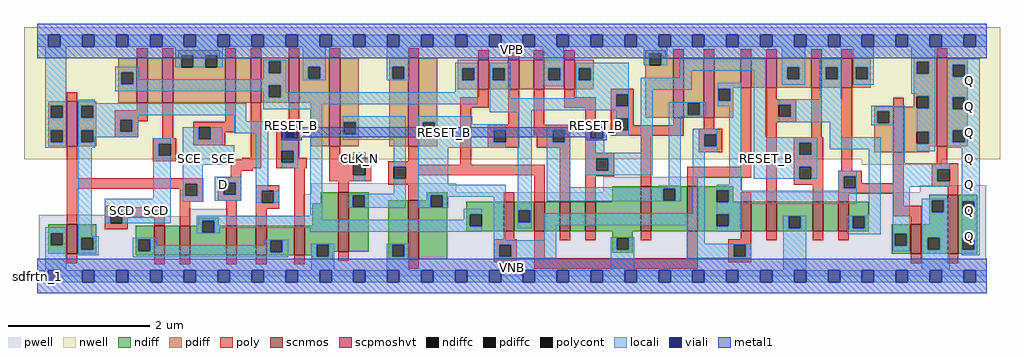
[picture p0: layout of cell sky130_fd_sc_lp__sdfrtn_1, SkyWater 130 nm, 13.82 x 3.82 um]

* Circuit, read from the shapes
.subckt sky130_fd_sc_lp__sdfrtn_1 CLK_N D RESET_B SCD SCE VGND VNB VPB VPWR Q
XM1 n1 SCE VGND VNB sky130_fd_pr__nfet_01v8 w=0.42 l=0.15
XM2 n2 SCD n3 VNB sky130_fd_pr__nfet_01v8 w=0.42 l=0.15
XM3 n4 SCE n2 VNB sky130_fd_pr__nfet_01v8 w=0.42 l=0.15
XM4 n5 D n4 VNB sky130_fd_pr__nfet_01v8 w=0.42 l=0.15
XM5 n3 n1 n5 VNB sky130_fd_pr__nfet_01v8 w=0.42 l=0.15
XM6 VGND RESET_B n3 VNB sky130_fd_pr__nfet_01v8 w=0.42 l=0.15
XM7 n6 CLK_N VGND VNB sky130_fd_pr__nfet_01v8 w=0.84 l=0.15
XM8 n7 n6 VGND VNB sky130_fd_pr__nfet_01v8 w=0.84 l=0.15
XM9 n8 n7 n4 VNB sky130_fd_pr__nfet_01v8 w=0.42 l=0.15
XM10 n9 n6 n8 VNB sky130_fd_pr__nfet_01v8 w=0.42 l=0.15
XM11 n10 n11 n9 VNB sky130_fd_pr__nfet_01v8 w=0.42 l=0.15
XM12 VGND RESET_B n10 VNB sky130_fd_pr__nfet_01v8 w=0.42 l=0.15
XM13 n11 n8 VGND VNB sky130_fd_pr__nfet_01v8 w=0.64 l=0.15
XM14 n12 n6 n11 VNB sky130_fd_pr__nfet_01v8 w=0.64 l=0.15
XM15 n13 n7 n12 VNB sky130_fd_pr__nfet_01v8 w=0.42 l=0.15
XM16 VGND n14 n13 VNB sky130_fd_pr__nfet_01v8 w=0.42 l=0.15
XM17 n15 RESET_B VGND VNB sky130_fd_pr__nfet_01v8 w=0.42 l=0.15
XM18 n14 n12 n15 VNB sky130_fd_pr__nfet_01v8 w=0.42 l=0.15
XM19 VGND n12 n16 VNB sky130_fd_pr__nfet_01v8 w=0.42 l=0.15
XM20 Q n16 VGND VNB sky130_fd_pr__nfet_01v8 w=0.84 l=0.15
XM21 n1 SCE VPWR VPB sky130_fd_pr__pfet_01v8_hvt w=0.64 l=0.15
XM22 n17 n1 n4 VPB sky130_fd_pr__pfet_01v8_hvt w=0.64 l=0.15
XM23 VPWR SCD n17 VPB sky130_fd_pr__pfet_01v8_hvt w=0.64 l=0.15
XM24 n18 SCE VPWR VPB sky130_fd_pr__pfet_01v8_hvt w=0.64 l=0.15
XM25 n4 D n18 VPB sky130_fd_pr__pfet_01v8_hvt w=0.64 l=0.15
XM26 VPWR RESET_B n4 VPB sky130_fd_pr__pfet_01v8_hvt w=0.64 l=0.15
XM27 n6 CLK_N VPWR VPB sky130_fd_pr__pfet_01v8_hvt w=1.26 l=0.15
XM28 n7 n6 VPWR VPB sky130_fd_pr__pfet_01v8_hvt w=1.26 l=0.15
XM29 n8 n6 n4 VPB sky130_fd_pr__pfet_01v8_hvt w=0.42 l=0.15
XM30 n19 n7 n8 VPB sky130_fd_pr__pfet_01v8_hvt w=0.42 l=0.15
XM31 VPWR n11 n19 VPB sky130_fd_pr__pfet_01v8_hvt w=0.42 l=0.15
XM32 n8 RESET_B VPWR VPB sky130_fd_pr__pfet_01v8_hvt w=0.42 l=0.15
XM33 n11 n8 VPWR VPB sky130_fd_pr__pfet_01v8_hvt w=0.84 l=0.15
XM34 n12 n7 n11 VPB sky130_fd_pr__pfet_01v8_hvt w=0.84 l=0.15
XM35 n20 n6 n12 VPB sky130_fd_pr__pfet_01v8_hvt w=0.42 l=0.15
XM36 VPWR n14 n20 VPB sky130_fd_pr__pfet_01v8_hvt w=0.42 l=0.15
XM37 n14 RESET_B VPWR VPB sky130_fd_pr__pfet_01v8_hvt w=0.42 l=0.15
XM38 VPWR n12 n14 VPB sky130_fd_pr__pfet_01v8_hvt w=0.42 l=0.15
XM39 VPWR n12 n16 VPB sky130_fd_pr__pfet_01v8_hvt w=0.64 l=0.15
XM40 Q n16 VPWR VPB sky130_fd_pr__pfet_01v8_hvt w=1.26 l=0.15
.ends

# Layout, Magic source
magic
tech sky130A
magscale 1 2
<< nwell >>
rect -38 331 2726 704
rect 2334 315 2561 331
<< pwell >>
rect 1734 281 1844 282
rect 776 237 1186 263
rect 1602 237 1996 281
rect 2499 237 2687 257
rect 776 232 2687 237
rect 4 169 192 173
rect 429 169 539 191
rect 753 169 2687 232
rect 4 49 2687 169
rect 0 0 2688 49
<< scnmos >>
rect 83 63 113 147
rect 331 59 361 143
rect 403 59 433 143
rect 535 59 565 143
rect 619 59 649 143
rect 727 59 757 143
rect 852 69 882 237
rect 1050 47 1080 215
rect 1321 127 1351 211
rect 1407 127 1437 211
rect 1479 127 1509 211
rect 1551 127 1581 211
rect 1708 127 1738 255
rect 1840 127 1870 255
rect 1992 127 2022 211
rect 2064 127 2094 211
rect 2196 127 2226 211
rect 2268 127 2298 211
rect 2473 63 2503 147
rect 2578 63 2608 231
<< scpmoshvt >>
rect 83 367 113 495
rect 282 491 312 619
rect 354 491 384 619
rect 532 491 562 619
rect 604 491 634 619
rect 712 491 742 619
rect 827 367 857 619
rect 1050 367 1080 619
rect 1248 529 1278 613
rect 1334 529 1364 613
rect 1406 529 1436 613
rect 1492 529 1522 613
rect 1801 449 1831 617
rect 1887 449 1917 617
rect 1992 533 2022 617
rect 2064 533 2094 617
rect 2191 533 2221 617
rect 2277 533 2307 617
rect 2423 351 2453 479
rect 2547 367 2577 619
<< ndiff >>
rect 30 122 83 147
rect 30 88 38 122
rect 72 88 83 122
rect 30 63 83 88
rect 113 109 166 147
rect 455 157 513 165
rect 455 143 467 157
rect 113 75 124 109
rect 158 75 166 109
rect 113 63 166 75
rect 278 105 331 143
rect 278 71 286 105
rect 320 71 331 105
rect 278 59 331 71
rect 361 59 403 143
rect 433 123 467 143
rect 501 143 513 157
rect 802 206 852 237
rect 779 143 852 206
rect 501 123 535 143
rect 433 59 535 123
rect 565 59 619 143
rect 649 101 727 143
rect 649 67 660 101
rect 694 67 727 101
rect 649 59 727 67
rect 757 89 852 143
rect 757 59 791 89
rect 779 55 791 59
rect 825 69 852 89
rect 882 229 939 237
rect 882 195 893 229
rect 927 195 939 229
rect 1102 229 1160 237
rect 1102 215 1114 229
rect 882 69 939 195
rect 993 89 1050 215
rect 825 55 837 69
rect 779 47 837 55
rect 993 55 1005 89
rect 1039 55 1050 89
rect 993 47 1050 55
rect 1080 195 1114 215
rect 1148 195 1160 229
rect 1760 255 1818 256
rect 1628 211 1708 255
rect 1080 47 1160 195
rect 1214 175 1321 211
rect 1214 141 1224 175
rect 1258 141 1321 175
rect 1214 127 1321 141
rect 1351 186 1407 211
rect 1351 152 1362 186
rect 1396 152 1407 186
rect 1351 127 1407 152
rect 1437 127 1479 211
rect 1509 127 1551 211
rect 1581 127 1708 211
rect 1738 248 1840 255
rect 1738 214 1772 248
rect 1806 214 1840 248
rect 1738 127 1840 214
rect 1870 243 1970 255
rect 1870 209 1924 243
rect 1958 211 1970 243
rect 1958 209 1992 211
rect 1870 175 1992 209
rect 1870 141 1924 175
rect 1958 141 1992 175
rect 1870 127 1992 141
rect 2022 127 2064 211
rect 2094 169 2196 211
rect 2094 135 2128 169
rect 2162 135 2196 169
rect 2094 127 2196 135
rect 2226 127 2268 211
rect 2298 169 2355 211
rect 2525 215 2578 231
rect 2298 135 2309 169
rect 2343 135 2355 169
rect 2525 181 2533 215
rect 2567 181 2578 215
rect 2525 147 2578 181
rect 2298 127 2355 135
rect 1628 108 1686 127
rect 1628 74 1640 108
rect 1674 74 1686 108
rect 1628 66 1686 74
rect 2420 120 2473 147
rect 2420 86 2428 120
rect 2462 86 2473 120
rect 2420 63 2473 86
rect 2503 109 2578 147
rect 2503 75 2521 109
rect 2555 75 2578 109
rect 2503 63 2578 75
rect 2608 212 2661 231
rect 2608 178 2619 212
rect 2653 178 2661 212
rect 2608 109 2661 178
rect 2608 75 2619 109
rect 2653 75 2661 109
rect 2608 63 2661 75
<< pdiff >>
rect 399 625 517 639
rect 399 619 407 625
rect 229 577 282 619
rect 229 543 237 577
rect 271 543 282 577
rect 30 483 83 495
rect 30 449 38 483
rect 72 449 83 483
rect 30 413 83 449
rect 30 379 38 413
rect 72 379 83 413
rect 30 367 83 379
rect 113 483 166 495
rect 229 491 282 543
rect 312 491 354 619
rect 384 591 407 619
rect 441 591 475 625
rect 509 619 517 625
rect 509 591 532 619
rect 384 491 532 591
rect 562 491 604 619
rect 634 609 712 619
rect 634 575 655 609
rect 689 575 712 609
rect 634 541 712 575
rect 634 507 655 541
rect 689 507 712 541
rect 634 491 712 507
rect 742 593 827 619
rect 742 559 767 593
rect 801 559 827 593
rect 742 491 827 559
rect 113 449 124 483
rect 158 449 166 483
rect 113 413 166 449
rect 113 379 124 413
rect 158 379 166 413
rect 113 367 166 379
rect 774 367 827 491
rect 857 436 910 619
rect 857 402 868 436
rect 902 402 910 436
rect 857 367 910 402
rect 997 593 1050 619
rect 997 559 1005 593
rect 1039 559 1050 593
rect 997 367 1050 559
rect 1080 436 1133 619
rect 1721 631 1779 639
rect 1191 588 1248 613
rect 1191 554 1203 588
rect 1237 554 1248 588
rect 1191 529 1248 554
rect 1278 588 1334 613
rect 1278 554 1289 588
rect 1323 554 1334 588
rect 1278 529 1334 554
rect 1364 529 1406 613
rect 1436 588 1492 613
rect 1436 554 1447 588
rect 1481 554 1492 588
rect 1436 529 1492 554
rect 1522 588 1575 613
rect 1522 554 1533 588
rect 1567 554 1575 588
rect 1522 529 1575 554
rect 1721 597 1733 631
rect 1767 617 1779 631
rect 1767 597 1801 617
rect 1080 402 1091 436
rect 1125 402 1133 436
rect 1080 367 1133 402
rect 1721 449 1801 597
rect 1831 491 1887 617
rect 1831 457 1842 491
rect 1876 457 1887 491
rect 1831 449 1887 457
rect 1917 533 1992 617
rect 2022 533 2064 617
rect 2094 592 2191 617
rect 2094 558 2124 592
rect 2158 558 2191 592
rect 2094 533 2191 558
rect 2221 592 2277 617
rect 2221 558 2232 592
rect 2266 558 2277 592
rect 2221 533 2277 558
rect 2307 592 2360 617
rect 2307 558 2318 592
rect 2352 558 2360 592
rect 2307 533 2360 558
rect 2482 607 2547 619
rect 2482 573 2490 607
rect 2524 573 2547 607
rect 1917 531 1970 533
rect 1917 497 1928 531
rect 1962 497 1970 531
rect 1917 449 1970 497
rect 2482 509 2547 573
rect 2482 479 2490 509
rect 2370 467 2423 479
rect 2370 433 2378 467
rect 2412 433 2423 467
rect 2370 351 2423 433
rect 2453 475 2490 479
rect 2524 475 2547 509
rect 2453 409 2547 475
rect 2453 375 2490 409
rect 2524 375 2547 409
rect 2453 367 2547 375
rect 2577 599 2634 619
rect 2577 565 2592 599
rect 2626 565 2634 599
rect 2577 507 2634 565
rect 2577 473 2592 507
rect 2626 473 2634 507
rect 2577 413 2634 473
rect 2577 379 2592 413
rect 2626 379 2634 413
rect 2577 367 2634 379
rect 2453 351 2525 367
<< ndiffc >>
rect 38 88 72 122
rect 124 75 158 109
rect 286 71 320 105
rect 467 123 501 157
rect 660 67 694 101
rect 791 55 825 89
rect 893 195 927 229
rect 1005 55 1039 89
rect 1114 195 1148 229
rect 1224 141 1258 175
rect 1362 152 1396 186
rect 1772 214 1806 248
rect 1924 209 1958 243
rect 1924 141 1958 175
rect 2128 135 2162 169
rect 2309 135 2343 169
rect 2533 181 2567 215
rect 1640 74 1674 108
rect 2428 86 2462 120
rect 2521 75 2555 109
rect 2619 178 2653 212
rect 2619 75 2653 109
<< pdiffc >>
rect 237 543 271 577
rect 38 449 72 483
rect 38 379 72 413
rect 407 591 441 625
rect 475 591 509 625
rect 655 575 689 609
rect 655 507 689 541
rect 767 559 801 593
rect 124 449 158 483
rect 124 379 158 413
rect 868 402 902 436
rect 1005 559 1039 593
rect 1203 554 1237 588
rect 1289 554 1323 588
rect 1447 554 1481 588
rect 1533 554 1567 588
rect 1733 597 1767 631
rect 1091 402 1125 436
rect 1842 457 1876 491
rect 2124 558 2158 592
rect 2232 558 2266 592
rect 2318 558 2352 592
rect 2490 573 2524 607
rect 1928 497 1962 531
rect 2378 433 2412 467
rect 2490 475 2524 509
rect 2490 375 2524 409
rect 2592 565 2626 599
rect 2592 473 2626 507
rect 2592 379 2626 413
<< poly >>
rect 282 619 312 645
rect 354 619 384 645
rect 83 495 113 521
rect 532 619 562 645
rect 604 619 634 645
rect 712 619 742 645
rect 827 619 857 645
rect 1050 619 1080 645
rect 282 469 312 491
rect 219 443 312 469
rect 219 409 235 443
rect 269 439 312 443
rect 269 409 285 439
rect 219 393 285 409
rect 354 391 384 491
rect 532 437 562 491
rect 441 421 562 437
rect 327 375 393 391
rect 83 277 113 367
rect 327 341 343 375
rect 377 341 393 375
rect 441 387 457 421
rect 491 407 562 421
rect 491 387 532 407
rect 441 371 532 387
rect 327 325 393 341
rect 604 335 634 491
rect 712 439 742 491
rect 580 329 634 335
rect 547 305 634 329
rect 676 423 742 439
rect 676 389 692 423
rect 726 389 742 423
rect 676 355 742 389
rect 1248 613 1278 639
rect 1334 613 1364 639
rect 1406 613 1436 639
rect 1492 613 1522 639
rect 1801 617 1831 643
rect 1887 617 1917 643
rect 1992 617 2022 643
rect 2064 617 2094 643
rect 2191 617 2221 643
rect 2277 617 2307 643
rect 2547 619 2577 645
rect 1248 507 1278 529
rect 1198 477 1278 507
rect 676 321 692 355
rect 726 335 742 355
rect 827 335 857 367
rect 726 321 763 335
rect 676 305 763 321
rect 827 319 945 335
rect 1050 325 1080 367
rect 547 299 610 305
rect 547 280 577 299
rect 83 261 469 277
rect 83 247 419 261
rect 83 147 113 247
rect 403 227 419 247
rect 453 227 469 261
rect 403 211 469 227
rect 511 264 577 280
rect 511 230 527 264
rect 561 230 577 264
rect 511 214 577 230
rect 619 241 685 257
rect 190 195 256 199
rect 190 183 361 195
rect 190 149 206 183
rect 240 165 361 183
rect 240 149 256 165
rect 190 133 256 149
rect 331 143 361 165
rect 403 143 433 211
rect 83 37 113 63
rect 535 143 565 214
rect 619 207 635 241
rect 669 207 685 241
rect 619 191 685 207
rect 619 143 649 191
rect 727 143 757 305
rect 827 285 895 319
rect 929 285 945 319
rect 827 269 945 285
rect 993 315 1080 325
rect 1198 315 1228 477
rect 1334 429 1364 529
rect 1276 413 1364 429
rect 1276 379 1292 413
rect 1326 379 1364 413
rect 1406 429 1436 529
rect 1492 507 1522 529
rect 1623 515 1689 531
rect 1492 477 1581 507
rect 1406 413 1509 429
rect 1406 399 1459 413
rect 1276 363 1364 379
rect 1414 379 1459 399
rect 1493 379 1509 413
rect 1414 363 1509 379
rect 993 309 1437 315
rect 993 275 1009 309
rect 1043 285 1437 309
rect 1043 275 1080 285
rect 852 237 882 269
rect 993 259 1080 275
rect 331 33 361 59
rect 403 33 433 59
rect 535 33 565 59
rect 619 33 649 59
rect 727 33 757 59
rect 1050 215 1080 259
rect 852 43 882 69
rect 1321 211 1351 237
rect 1407 211 1437 285
rect 1479 211 1509 363
rect 1551 349 1581 477
rect 1623 481 1639 515
rect 1673 481 1689 515
rect 1623 447 1689 481
rect 1623 413 1639 447
rect 1673 427 1689 447
rect 1801 427 1831 449
rect 1673 413 1831 427
rect 1887 417 1917 449
rect 1623 397 1831 413
rect 1873 401 1939 417
rect 1551 333 1633 349
rect 1551 299 1583 333
rect 1617 299 1633 333
rect 1551 283 1633 299
rect 1551 211 1581 283
rect 1708 255 1738 397
rect 1873 367 1889 401
rect 1923 367 1939 401
rect 1873 351 1939 367
rect 1992 309 2022 533
rect 1840 279 2022 309
rect 2064 501 2094 533
rect 2064 485 2149 501
rect 2064 451 2099 485
rect 2133 451 2149 485
rect 2064 435 2149 451
rect 1840 255 1870 279
rect 1992 211 2022 237
rect 2064 211 2094 435
rect 2191 393 2221 533
rect 2142 377 2226 393
rect 2142 343 2158 377
rect 2192 343 2226 377
rect 2142 309 2226 343
rect 2142 275 2158 309
rect 2192 275 2226 309
rect 2277 299 2307 533
rect 2423 479 2453 505
rect 2142 259 2226 275
rect 2196 211 2226 259
rect 2268 283 2334 299
rect 2268 249 2284 283
rect 2318 263 2334 283
rect 2423 263 2453 351
rect 2547 319 2577 367
rect 2318 249 2453 263
rect 2533 303 2608 319
rect 2533 269 2549 303
rect 2583 269 2608 303
rect 2533 253 2608 269
rect 2268 233 2453 249
rect 2268 211 2298 233
rect 2423 199 2453 233
rect 2578 231 2608 253
rect 2423 169 2503 199
rect 2473 147 2503 169
rect 1321 105 1351 127
rect 1292 89 1358 105
rect 1292 55 1308 89
rect 1342 55 1358 89
rect 1050 21 1080 47
rect 1292 39 1358 55
rect 1407 51 1437 127
rect 1479 101 1509 127
rect 1551 101 1581 127
rect 1708 101 1738 127
rect 1840 51 1870 127
rect 1992 105 2022 127
rect 1407 21 1870 51
rect 1956 89 2022 105
rect 2064 101 2094 127
rect 2196 101 2226 127
rect 2268 101 2298 127
rect 1956 55 1972 89
rect 2006 55 2022 89
rect 1956 39 2022 55
rect 2473 37 2503 63
rect 2578 37 2608 63
<< polycont >>
rect 235 409 269 443
rect 343 341 377 375
rect 457 387 491 421
rect 692 389 726 423
rect 692 321 726 355
rect 419 227 453 261
rect 527 230 561 264
rect 206 149 240 183
rect 635 207 669 241
rect 895 285 929 319
rect 1292 379 1326 413
rect 1459 379 1493 413
rect 1009 275 1043 309
rect 1639 481 1673 515
rect 1639 413 1673 447
rect 1583 299 1617 333
rect 1889 367 1923 401
rect 2099 451 2133 485
rect 2158 343 2192 377
rect 2158 275 2192 309
rect 2284 249 2318 283
rect 2549 269 2583 303
rect 1308 55 1342 89
rect 1972 55 2006 89
<< locali >>
rect 0 649 31 683
rect 65 649 127 683
rect 161 649 223 683
rect 257 649 319 683
rect 353 649 415 683
rect 449 649 511 683
rect 545 649 607 683
rect 641 649 703 683
rect 737 649 799 683
rect 833 649 895 683
rect 929 649 991 683
rect 1025 649 1087 683
rect 1121 649 1183 683
rect 1217 649 1279 683
rect 1313 649 1375 683
rect 1409 649 1471 683
rect 1505 649 1567 683
rect 1601 649 1663 683
rect 1697 649 1759 683
rect 1793 649 1855 683
rect 1889 649 1951 683
rect 1985 649 2047 683
rect 2081 649 2143 683
rect 2177 649 2239 683
rect 2273 649 2335 683
rect 2369 649 2431 683
rect 2465 649 2527 683
rect 2561 649 2623 683
rect 2657 649 2688 683
rect 22 483 81 649
rect 391 625 525 649
rect 221 577 287 593
rect 391 591 407 625
rect 441 591 475 625
rect 509 591 525 625
rect 639 609 705 613
rect 221 543 237 577
rect 271 557 287 577
rect 639 575 655 609
rect 689 575 705 609
rect 639 557 705 575
rect 271 543 705 557
rect 751 593 817 649
rect 751 559 767 593
rect 801 559 817 593
rect 751 554 817 559
rect 989 593 1055 649
rect 989 559 1005 593
rect 1039 559 1055 593
rect 989 554 1055 559
rect 1183 588 1247 604
rect 1183 554 1203 588
rect 1237 554 1247 588
rect 221 541 705 543
rect 221 523 655 541
rect 639 507 655 523
rect 689 520 705 541
rect 1183 520 1247 554
rect 689 507 1247 520
rect 22 449 38 483
rect 72 449 81 483
rect 22 413 81 449
rect 22 379 38 413
rect 72 379 81 413
rect 22 363 81 379
rect 115 489 162 499
rect 115 483 592 489
rect 115 449 124 483
rect 158 455 592 483
rect 639 486 1247 507
rect 1281 588 1339 604
rect 1281 554 1289 588
rect 1323 554 1339 588
rect 1281 504 1339 554
rect 1431 588 1491 649
rect 1717 631 1783 649
rect 1431 554 1447 588
rect 1481 554 1491 588
rect 1431 538 1491 554
rect 1525 588 1675 604
rect 1717 597 1733 631
rect 1767 597 1783 631
rect 1525 554 1533 588
rect 1567 554 1675 588
rect 1819 581 2063 615
rect 1819 561 1853 581
rect 1525 515 1675 554
rect 1525 504 1639 515
rect 639 473 807 486
rect 158 449 285 455
rect 115 443 285 449
rect 115 413 235 443
rect 115 379 124 413
rect 158 409 235 413
rect 269 409 285 443
rect 558 439 592 455
rect 158 393 285 409
rect 158 379 162 393
rect 115 363 162 379
rect 328 375 377 391
rect 22 122 81 138
rect 22 88 38 122
rect 72 88 81 122
rect 22 17 81 88
rect 115 113 154 363
rect 328 341 343 375
rect 328 219 377 341
rect 190 183 377 219
rect 411 387 457 421
rect 491 387 524 421
rect 558 404 653 439
rect 411 370 524 387
rect 411 315 557 370
rect 411 261 468 315
rect 411 227 419 261
rect 453 227 468 261
rect 411 211 468 227
rect 502 264 577 281
rect 502 230 527 264
rect 561 230 577 264
rect 502 214 577 230
rect 619 241 653 404
rect 692 424 739 439
rect 692 423 703 424
rect 737 390 739 424
rect 726 389 739 390
rect 692 355 739 389
rect 726 321 739 355
rect 692 305 739 321
rect 619 207 635 241
rect 669 207 685 241
rect 190 149 206 183
rect 240 149 377 183
rect 773 171 807 473
rect 1281 481 1639 504
rect 1673 481 1675 515
rect 1281 470 1675 481
rect 1281 464 1400 470
rect 864 436 1043 452
rect 864 402 868 436
rect 902 402 1043 436
rect 864 386 1043 402
rect 895 319 929 350
rect 895 269 929 285
rect 1009 309 1043 386
rect 1009 233 1043 275
rect 877 229 1043 233
rect 877 195 893 229
rect 927 195 1043 229
rect 877 193 1043 195
rect 1079 436 1232 452
rect 1079 402 1091 436
rect 1125 430 1232 436
rect 1125 413 1326 430
rect 1125 402 1292 413
rect 1079 379 1292 402
rect 1079 363 1326 379
rect 1079 259 1164 363
rect 1079 229 1326 259
rect 1079 195 1114 229
rect 1148 225 1326 229
rect 1148 195 1164 225
rect 1079 193 1164 195
rect 451 159 807 171
rect 1208 175 1258 191
rect 1208 159 1224 175
rect 451 157 1224 159
rect 451 123 467 157
rect 501 141 1224 157
rect 501 137 1258 141
rect 501 123 517 137
rect 773 125 1258 137
rect 451 121 517 123
rect 115 109 174 113
rect 115 75 124 109
rect 158 75 174 109
rect 115 59 174 75
rect 270 105 336 109
rect 270 71 286 105
rect 320 87 336 105
rect 644 101 710 103
rect 644 87 660 101
rect 320 71 660 87
rect 270 67 660 71
rect 694 67 710 101
rect 1292 102 1326 225
rect 1360 186 1400 464
rect 1639 447 1675 470
rect 1443 413 1509 429
rect 1443 379 1459 413
rect 1493 379 1509 413
rect 1443 252 1509 379
rect 1551 424 1605 436
rect 1551 390 1567 424
rect 1601 390 1605 424
rect 1673 413 1675 447
rect 1639 397 1675 413
rect 1709 527 1853 561
rect 1926 531 1993 547
rect 1551 349 1605 390
rect 1709 349 1743 527
rect 1926 497 1928 531
rect 1962 497 1993 531
rect 1551 333 1743 349
rect 1551 299 1583 333
rect 1617 299 1743 333
rect 1551 286 1743 299
rect 1788 491 1892 493
rect 1788 457 1842 491
rect 1876 457 1892 491
rect 1926 481 1993 497
rect 1788 453 1892 457
rect 1788 252 1822 453
rect 1443 248 1822 252
rect 1443 214 1772 248
rect 1806 214 1822 248
rect 1443 212 1822 214
rect 1856 401 1925 417
rect 1856 367 1889 401
rect 1923 367 1925 401
rect 1856 351 1925 367
rect 1360 152 1362 186
rect 1396 152 1400 186
rect 1856 178 1890 351
rect 1959 259 1993 481
rect 2029 393 2063 581
rect 2108 592 2174 649
rect 2108 558 2124 592
rect 2158 558 2174 592
rect 2108 542 2174 558
rect 2216 592 2276 615
rect 2216 558 2232 592
rect 2266 558 2276 592
rect 2216 501 2276 558
rect 2310 592 2368 649
rect 2310 558 2318 592
rect 2352 558 2368 592
rect 2310 542 2368 558
rect 2474 607 2542 649
rect 2474 573 2490 607
rect 2524 573 2542 607
rect 2474 517 2542 573
rect 2490 509 2542 517
rect 2099 485 2278 501
rect 2133 451 2278 485
rect 2099 435 2278 451
rect 2244 393 2278 435
rect 2362 467 2456 483
rect 2362 433 2378 467
rect 2412 433 2456 467
rect 2362 427 2456 433
rect 2029 377 2208 393
rect 2029 343 2158 377
rect 2192 343 2208 377
rect 2244 359 2388 393
rect 2029 309 2208 343
rect 2029 275 2158 309
rect 2192 275 2208 309
rect 2268 283 2320 299
rect 1360 136 1400 152
rect 1436 144 1890 178
rect 1436 102 1470 144
rect 270 53 710 67
rect 775 89 841 91
rect 775 55 791 89
rect 825 55 841 89
rect 775 17 841 55
rect 989 89 1055 91
rect 989 55 1005 89
rect 1039 55 1055 89
rect 989 17 1055 55
rect 1292 89 1470 102
rect 1292 55 1308 89
rect 1342 55 1470 89
rect 1292 51 1470 55
rect 1624 108 1690 110
rect 1624 74 1640 108
rect 1674 74 1690 108
rect 1624 17 1690 74
rect 1839 91 1890 144
rect 1924 243 1993 259
rect 1958 241 1993 243
rect 2268 249 2284 283
rect 2318 249 2320 283
rect 2268 241 2320 249
rect 1958 209 2320 241
rect 1924 205 2320 209
rect 1924 175 1993 205
rect 1958 141 1993 175
rect 2354 171 2388 359
rect 1924 125 1993 141
rect 2112 169 2178 171
rect 2112 135 2128 169
rect 2162 135 2178 169
rect 1839 89 2022 91
rect 1839 55 1972 89
rect 2006 55 2022 89
rect 1839 51 2022 55
rect 2112 17 2178 135
rect 2293 169 2388 171
rect 2293 135 2309 169
rect 2343 135 2388 169
rect 2293 119 2388 135
rect 2422 319 2456 427
rect 2524 475 2542 509
rect 2490 409 2542 475
rect 2524 375 2542 409
rect 2490 353 2542 375
rect 2576 599 2669 615
rect 2576 565 2592 599
rect 2626 565 2669 599
rect 2576 507 2669 565
rect 2576 473 2592 507
rect 2626 473 2669 507
rect 2576 413 2669 473
rect 2576 379 2592 413
rect 2626 379 2669 413
rect 2576 363 2669 379
rect 2422 303 2583 319
rect 2422 269 2549 303
rect 2422 253 2583 269
rect 2422 120 2471 253
rect 2422 86 2428 120
rect 2462 86 2471 120
rect 2422 70 2471 86
rect 2505 215 2583 219
rect 2505 181 2533 215
rect 2567 181 2583 215
rect 2505 109 2583 181
rect 2505 75 2521 109
rect 2555 75 2583 109
rect 2505 17 2583 75
rect 2617 212 2669 363
rect 2617 178 2619 212
rect 2653 178 2669 212
rect 2617 109 2669 178
rect 2617 75 2619 109
rect 2653 75 2669 109
rect 2617 59 2669 75
rect 0 -17 31 17
rect 65 -17 127 17
rect 161 -17 223 17
rect 257 -17 319 17
rect 353 -17 415 17
rect 449 -17 511 17
rect 545 -17 607 17
rect 641 -17 703 17
rect 737 -17 799 17
rect 833 -17 895 17
rect 929 -17 991 17
rect 1025 -17 1087 17
rect 1121 -17 1183 17
rect 1217 -17 1279 17
rect 1313 -17 1375 17
rect 1409 -17 1471 17
rect 1505 -17 1567 17
rect 1601 -17 1663 17
rect 1697 -17 1759 17
rect 1793 -17 1855 17
rect 1889 -17 1951 17
rect 1985 -17 2047 17
rect 2081 -17 2143 17
rect 2177 -17 2239 17
rect 2273 -17 2335 17
rect 2369 -17 2431 17
rect 2465 -17 2527 17
rect 2561 -17 2623 17
rect 2657 -17 2688 17
<< viali >>
rect 31 649 65 683
rect 127 649 161 683
rect 223 649 257 683
rect 319 649 353 683
rect 415 649 449 683
rect 511 649 545 683
rect 607 649 641 683
rect 703 649 737 683
rect 799 649 833 683
rect 895 649 929 683
rect 991 649 1025 683
rect 1087 649 1121 683
rect 1183 649 1217 683
rect 1279 649 1313 683
rect 1375 649 1409 683
rect 1471 649 1505 683
rect 1567 649 1601 683
rect 1663 649 1697 683
rect 1759 649 1793 683
rect 1855 649 1889 683
rect 1951 649 1985 683
rect 2047 649 2081 683
rect 2143 649 2177 683
rect 2239 649 2273 683
rect 2335 649 2369 683
rect 2431 649 2465 683
rect 2527 649 2561 683
rect 2623 649 2657 683
rect 703 423 737 424
rect 703 390 726 423
rect 726 390 737 423
rect 1567 390 1601 424
rect 31 -17 65 17
rect 127 -17 161 17
rect 223 -17 257 17
rect 319 -17 353 17
rect 415 -17 449 17
rect 511 -17 545 17
rect 607 -17 641 17
rect 703 -17 737 17
rect 799 -17 833 17
rect 895 -17 929 17
rect 991 -17 1025 17
rect 1087 -17 1121 17
rect 1183 -17 1217 17
rect 1279 -17 1313 17
rect 1375 -17 1409 17
rect 1471 -17 1505 17
rect 1567 -17 1601 17
rect 1663 -17 1697 17
rect 1759 -17 1793 17
rect 1855 -17 1889 17
rect 1951 -17 1985 17
rect 2047 -17 2081 17
rect 2143 -17 2177 17
rect 2239 -17 2273 17
rect 2335 -17 2369 17
rect 2431 -17 2465 17
rect 2527 -17 2561 17
rect 2623 -17 2657 17
<< metal1 >>
rect 0 683 2688 715
rect 0 649 31 683
rect 65 649 127 683
rect 161 649 223 683
rect 257 649 319 683
rect 353 649 415 683
rect 449 649 511 683
rect 545 649 607 683
rect 641 649 703 683
rect 737 649 799 683
rect 833 649 895 683
rect 929 649 991 683
rect 1025 649 1087 683
rect 1121 649 1183 683
rect 1217 649 1279 683
rect 1313 649 1375 683
rect 1409 649 1471 683
rect 1505 649 1567 683
rect 1601 649 1663 683
rect 1697 649 1759 683
rect 1793 649 1855 683
rect 1889 649 1951 683
rect 1985 649 2047 683
rect 2081 649 2143 683
rect 2177 649 2239 683
rect 2273 649 2335 683
rect 2369 649 2431 683
rect 2465 649 2527 683
rect 2561 649 2623 683
rect 2657 649 2688 683
rect 0 617 2688 649
rect 691 424 749 430
rect 691 390 703 424
rect 737 421 749 424
rect 1555 424 1613 430
rect 1555 421 1567 424
rect 737 393 1567 421
rect 737 390 749 393
rect 691 384 749 390
rect 1555 390 1567 393
rect 1601 390 1613 424
rect 1555 384 1613 390
rect 0 17 2688 49
rect 0 -17 31 17
rect 65 -17 127 17
rect 161 -17 223 17
rect 257 -17 319 17
rect 353 -17 415 17
rect 449 -17 511 17
rect 545 -17 607 17
rect 641 -17 703 17
rect 737 -17 799 17
rect 833 -17 895 17
rect 929 -17 991 17
rect 1025 -17 1087 17
rect 1121 -17 1183 17
rect 1217 -17 1279 17
rect 1313 -17 1375 17
rect 1409 -17 1471 17
rect 1505 -17 1567 17
rect 1601 -17 1663 17
rect 1697 -17 1759 17
rect 1793 -17 1855 17
rect 1889 -17 1951 17
rect 1985 -17 2047 17
rect 2081 -17 2143 17
rect 2177 -17 2239 17
rect 2273 -17 2335 17
rect 2369 -17 2431 17
rect 2465 -17 2527 17
rect 2561 -17 2623 17
rect 2657 -17 2688 17
rect 0 -49 2688 -17
<< labels >>
flabel pwell s 0 0 2688 49 0 FreeSans 200 0 0 0 VNB
port 7 nsew ground bidirectional
flabel nwell s 0 617 2688 666 0 FreeSans 200 0 0 0 VPB
port 8 nsew power bidirectional
rlabel comment s 0 0 0 0 4 sdfrtn_1
flabel metal1 s 0 617 2688 666 0 FreeSans 340 0 0 0 VPWR
port 9 nsew power bidirectional
flabel metal1 s 0 0 2688 49 0 FreeSans 340 0 0 0 VGND
port 6 nsew ground bidirectional
flabel locali s 2623 94 2657 128 0 FreeSans 340 0 0 0 Q
port 10 nsew signal output
flabel locali s 2623 168 2657 202 0 FreeSans 340 0 0 0 Q
port 10 nsew signal output
flabel locali s 2623 242 2657 276 0 FreeSans 340 0 0 0 Q
port 10 nsew signal output
flabel locali s 2623 316 2657 350 0 FreeSans 340 0 0 0 Q
port 10 nsew signal output
flabel locali s 2623 390 2657 424 0 FreeSans 340 0 0 0 Q
port 10 nsew signal output
flabel locali s 2623 464 2657 498 0 FreeSans 340 0 0 0 Q
port 10 nsew signal output
flabel locali s 415 316 449 350 0 FreeSans 340 0 0 0 SCE
port 5 nsew signal input
flabel locali s 511 316 545 350 0 FreeSans 340 0 0 0 SCE
port 5 nsew signal input
flabel locali s 2047 316 2081 350 0 FreeSans 340 0 0 0 RESET_B
port 3 nsew signal input
flabel locali s 2143 316 2177 350 0 FreeSans 340 0 0 0 RESET_B
port 3 nsew signal input
flabel locali s 511 242 545 276 0 FreeSans 340 0 0 0 D
port 2 nsew signal input
flabel locali s 895 316 929 350 0 FreeSans 340 0 0 0 CLK_N
port 1 nsew clock input
flabel locali s 223 168 257 202 0 FreeSans 340 0 0 0 SCD
port 4 nsew signal input
flabel locali s 319 168 353 202 0 FreeSans 340 0 0 0 SCD
port 4 nsew signal input
flabel locali s 2623 538 2657 572 0 FreeSans 340 0 0 0 Q
port 10 nsew signal output
rlabel metal1 s 1555 421 1613 430 1 RESET_B
port 3 nsew signal input
rlabel metal1 s 1555 384 1613 393 1 RESET_B
port 3 nsew signal input
rlabel metal1 s 691 421 749 430 1 RESET_B
port 3 nsew signal input
rlabel metal1 s 691 393 1613 421 1 RESET_B
port 3 nsew signal input
rlabel metal1 s 691 384 749 393 1 RESET_B
port 3 nsew signal input
<< properties >>
string LEFsite unit
string LEFclass CORE
string FIXED_BBOX 0 0 2688 666
string GDS_FILE $PDKPATH/libs.ref/sky130_fd_sc_lp/gds/sky130_fd_sc_lp.gds
string LEFsymmetry X Y R90
string GDS_END 4970214
string GDS_START 4950718
<< end >>
